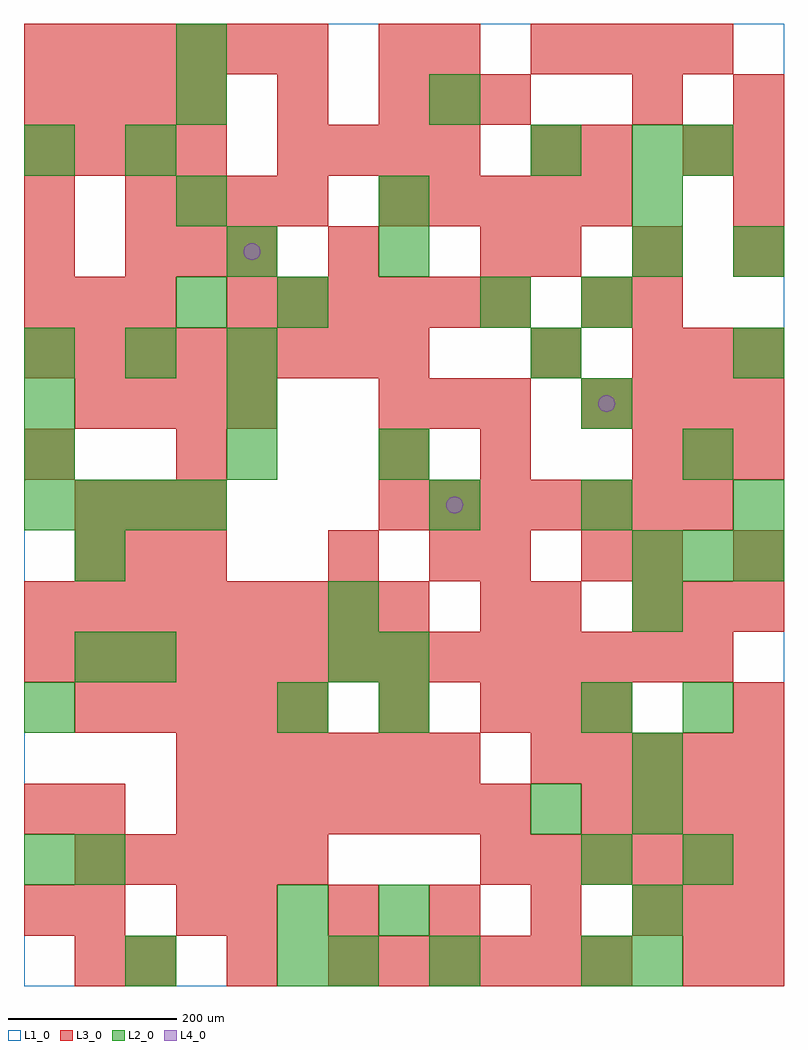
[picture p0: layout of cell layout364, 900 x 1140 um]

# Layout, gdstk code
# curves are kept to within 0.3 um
import gdstk
lib = gdstk.Library(unit=1e-6, precision=1e-09)
def R(c, l, rs):  # rectangles x0, y0, x1, y1
    for r in rs: c.add(gdstk.rectangle(r[:2], r[2:], *l))
def A(c, l, x, y, w, h, nx, ny, dx, dy):  # array of equal rectangles
    R(c, l, [(x+i*dx, y+j*dy, x+i*dx+w, y+j*dy+h) for i in range(nx) for j in range(ny)])
def P(c, l, *ps):  # polygons
    for p in ps: c.add(gdstk.Polygon(p, *l))
L1_0 = (1, 0)
L2_0 = (2, 0)
L3_0 = (3, 0)
L4_0 = (4, 0)

layout364 = lib.new_cell('layout364')
R(layout364, L1_0, [(0,0,900,1140)])
A(layout364, L2_0, 420, 360, 60, 60, 1, 3, 0, 240)
A(layout364, L2_0, 720, 480, 60, 60, 3, 1, 60, 0)
A(layout364, L2_0, 0, 540, 60, 60, 4, 1, 60, 0)
A(layout364, L2_0, 480, 540, 60, 60, 3, 1, 180, 0)
A(layout364, L2_0, 0, 720, 60, 60, 3, 1, 120, 0)
A(layout364, L2_0, 180, 780, 60, 60, 1, 3, 0, 120)
A(layout364, L2_0, 720, 840, 60, 60, 1, 3, 0, 60)
R(layout364, L2_0, [(120,0,180,60), (300,0,360,60), (360,0,420,60), (480,0,540,60), (660,0,720,60), (720,0,780,60), (300,60,360,120), (420,60,480,120), (720,60,780,120), (0,120,60,180), (60,120,120,180), (660,120,720,180), (780,120,840,180), (600,180,660,240), (720,180,780,240), (720,240,780,300), (0,300,60,360), (300,300,360,360), (420,300,480,360), (660,300,720,360), (780,300,840,360), (60,360,120,420), (120,360,180,420), (360,360,420,420), (360,420,420,480), (720,420,780,480), (60,480,120,540), (0,600,60,660), (240,600,300,660), (780,600,840,660), (0,660,60,720), (240,660,300,720), (660,660,720,720), (600,720,660,780), (840,720,900,780), (300,780,360,840), (540,780,600,840), (660,780,720,840), (240,840,300,900), (840,840,900,900), (420,900,480,960), (0,960,60,1020), (120,960,180,1020), (600,960,660,1020), (780,960,840,1020), (480,1020,540,1080), (180,1080,240,1140)])
A(layout364, L3_0, 120, 0, 60, 60, 3, 1, 120, 0)
A(layout364, L3_0, 420, 0, 60, 60, 5, 2, 60, 900)
A(layout364, L3_0, 240, 60, 60, 60, 5, 1, 120, 0)
A(layout364, L3_0, 60, 120, 60, 60, 5, 2, 60, 180)
A(layout364, L3_0, 540, 120, 60, 60, 6, 1, 60, 0)
A(layout364, L3_0, 180, 180, 60, 60, 7, 1, 60, 0)
A(layout364, L3_0, 660, 180, 60, 60, 4, 2, 60, 480)
A(layout364, L3_0, 180, 240, 60, 60, 6, 1, 60, 0)
A(layout364, L3_0, 600, 240, 60, 60, 5, 1, 60, 0)
A(layout364, L3_0, 540, 300, 60, 60, 3, 1, 60, 0)
A(layout364, L3_0, 0, 360, 60, 60, 14, 1, 60, 0)
A(layout364, L3_0, 0, 420, 60, 60, 8, 2, 60, 300)
A(layout364, L3_0, 720, 420, 60, 60, 3, 2, 60, 180)
A(layout364, L3_0, 60, 480, 60, 60, 3, 2, 60, 60)
A(layout364, L3_0, 420, 540, 60, 60, 7, 1, 60, 0)
A(layout364, L3_0, 60, 660, 60, 60, 4, 1, 60, 0)
A(layout364, L3_0, 420, 660, 60, 60, 3, 2, 60, 360)
A(layout364, L3_0, 720, 720, 60, 60, 3, 1, 60, 0)
A(layout364, L3_0, 0, 780, 60, 60, 3, 1, 60, 0)
A(layout364, L3_0, 240, 780, 60, 60, 6, 1, 60, 0)
A(layout364, L3_0, 120, 840, 60, 60, 3, 1, 60, 0)
A(layout364, L3_0, 600, 840, 60, 60, 3, 1, 120, 0)
A(layout364, L3_0, 120, 900, 60, 60, 4, 1, 60, 0)
A(layout364, L3_0, 840, 900, 60, 60, 1, 3, 0, 60)
A(layout364, L3_0, 0, 960, 60, 60, 4, 2, 60, 60)
A(layout364, L3_0, 300, 960, 60, 60, 4, 1, 60, 0)
A(layout364, L3_0, 0, 1080, 60, 60, 6, 1, 60, 0)
A(layout364, L3_0, 600, 1080, 60, 60, 4, 1, 60, 0)
R(layout364, L3_0, [(60,0,120,60), (780,0,840,60), (840,0,900,60), (0,60,60,120), (60,60,120,120), (180,60,240,120), (780,60,840,120), (840,60,900,120), (0,180,60,240), (60,180,120,240), (420,300,480,360), (840,300,900,360), (540,420,600,480), (600,420,660,480), (360,480,420,540), (480,480,540,540), (540,480,600,540), (660,480,720,540), (720,480,780,540), (840,480,900,540), (0,600,60,660), (180,600,240,660), (420,600,480,660), (540,600,600,660), (600,720,660,780), (660,780,720,840), (720,780,780,840), (0,840,60,900), (360,840,420,900), (540,840,600,900), (0,900,60,960), (600,960,660,1020), (660,960,720,1020), (780,960,840,1020), (300,1020,360,1080), (720,1020,780,1080), (420,1080,480,1140), (480,1080,540,1140)])
P(layout364, L4_0, [(280,870),(279.239,873.827),(277.071,877.071),(273.827,879.239),(270,880),(266.173,879.239),(262.929,877.071),(260.761,873.827),(260,870),(260.761,866.173),(262.929,862.929),(266.173,860.761),(270,860),(273.827,860.761),(277.071,862.929),(279.239,866.173)],
  [(520,570),(519.239,573.827),(517.071,577.071),(513.827,579.239),(510,580),(506.173,579.239),(502.929,577.071),(500.761,573.827),(500,570),(500.761,566.173),(502.929,562.929),(506.173,560.761),(510,560),(513.827,560.761),(517.071,562.929),(519.239,566.173)],
  [(700,690),(699.239,693.827),(697.071,697.071),(693.827,699.239),(690,700),(686.173,699.239),(682.929,697.071),(680.761,693.827),(680,690),(680.761,686.173),(682.929,682.929),(686.173,680.761),(690,680),(693.827,680.761),(697.071,682.929),(699.239,686.173)])

lib.write_gds('layout364.gds')
